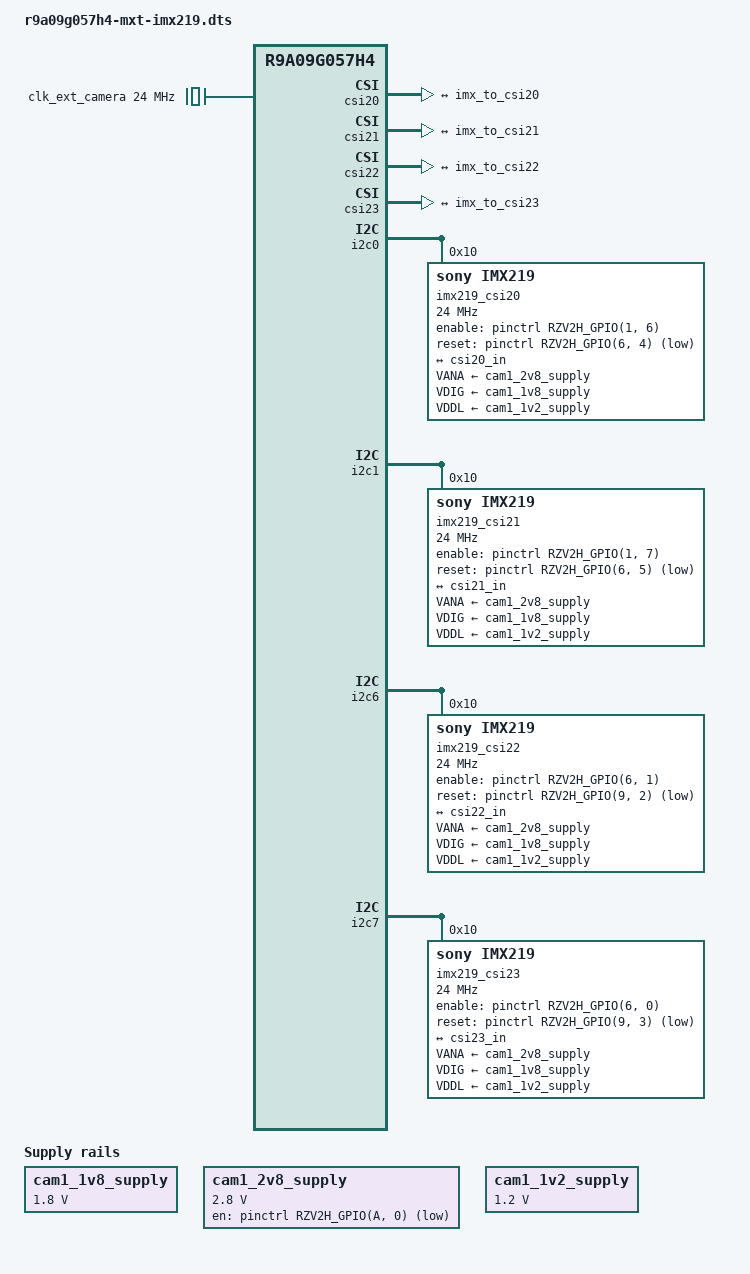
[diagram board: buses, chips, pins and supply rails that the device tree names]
// SPDX-License-Identifier: (GPL-2.0-only OR BSD-2-Clause)
/*
 * Device Tree Source for the RZ/V2H EVK MXT board variant (IMX219 camera)
 *
 * Copyright (C) 2025 Renesas Electronics Corporation
 * Copyright (C) 2024 MXT Creation SRL
 */

/dts-v1/;
#include "rzv2h-evk-ver1.dts"

/{
	cam1_1v8_supply: 1p8v {
		compatible = "regulator-fixed";
		regulator-name = "cam1_1v8_supply";
		regulator-min-microvolt = <1800000>;
		regulator-max-microvolt = <1800000>;
		regulator-always-on;
	};

	cam1_2v8_supply: 2p8v {
		compatible = "regulator-fixed";
		regulator-name = "cam1_2v8_supply";
		regulator-min-microvolt = <2800000>;
		regulator-max-microvolt = <2800000>;
		gpios = <&pinctrl RZV2H_GPIO(A, 0) GPIO_ACTIVE_HIGH>;
		startup-delay-us = <300000>;
	};

	cam1_1v2_supply: 1p2v {
		compatible = "regulator-fixed";
		regulator-name = "cam1_1v2_supply";
		regulator-min-microvolt = <1200000>;
		regulator-max-microvolt = <1200000>;
		regulator-always-on;
	};

	clk_ext_camera: clk_ext_camera {
		compatible = "fixed-clock";
		#clock-cells = <0>;
		clock-frequency = <24000000>;
	};
};

&csi20 {
	status = "okay";

	ports {
		port {
			csi20_in: endpoint {
				clock-lanes = <0>;
				data-lanes = <1 2>;
				remote-endpoint = <&imx_to_csi20>;
			};
		};
	};
};

&csi21 {
	status = "okay";

	ports {
		port {
			csi21_in: endpoint {
				clock-lanes = <0>;
				data-lanes = <1 2>;
				remote-endpoint = <&imx_to_csi21>;
			};
		};
	};
};

&csi22 {
	status = "okay";

	ports {
		port {
			csi22_in: endpoint {
				clock-lanes = <0>;
				data-lanes = <1 2>;
				remote-endpoint = <&imx_to_csi22>;
			};
		};
	};
};

&csi23 {
	status = "okay";

	ports {
		port {
			csi23_in: endpoint {
				clock-lanes = <0>;
				data-lanes = <1 2>;
				remote-endpoint = <&imx_to_csi23>;
			};
		};
	};
};

&i2c0 {
	pinctrl-0 = <&i2c0_pins>;
	pinctrl-names = "default";

	status = "okay";

	imx219_csi20: imx219_csi20@10 {
		compatible = "sony,imx219";
		reg = <0x10>;
		
		clock-names = "xclk";
		clocks = <&clk_ext_camera>;
		clock-frequency = <24000000>;
		VANA-supply = <&cam1_2v8_supply>;
		VDIG-supply = <&cam1_1v8_supply>;
		VDDL-supply = <&cam1_1v2_supply>;

		/* Set dummy enable gpio */
		enable-gpios = <&pinctrl RZV2H_GPIO(1, 6) GPIO_ACTIVE_HIGH>;
		reset-gpios = <&pinctrl RZV2H_GPIO(6, 4) GPIO_ACTIVE_LOW>;

		port {
			imx_to_csi20: endpoint {
				clock-lanes = <0>;
				data-lanes = <1 2>;
				link-frequencies = /bits/ 64 <456000000>;
				remote-endpoint = <&csi20_in>;
			};
		};
	};
	
	/delete-node/ ov5645_csi20@3c;
};

&i2c1 {
	pinctrl-0 = <&i2c1_pins>;
	pinctrl-names = "default";

	status = "okay";

	imx219_csi21: imx219_csi21@10 {
		compatible = "sony,imx219";
		reg = <0x10>;
		clock-names = "xclk";
		
		clocks = <&clk_ext_camera>;
		clock-frequency = <24000000>;
		VANA-supply = <&cam1_2v8_supply>;
		VDIG-supply = <&cam1_1v8_supply>;
		VDDL-supply = <&cam1_1v2_supply>;
		
		/* Set dummy enable gpio */
		enable-gpios = <&pinctrl RZV2H_GPIO(1, 7) GPIO_ACTIVE_HIGH>;
		reset-gpios = <&pinctrl RZV2H_GPIO(6, 5) GPIO_ACTIVE_LOW>;

		port {
			imx_to_csi21: endpoint {
				clock-lanes = <0>;
				data-lanes = <1 2>;
				link-frequencies = /bits/ 64 <456000000>;
				remote-endpoint = <&csi21_in>;
			};
		};
		
	};
	
	/delete-node/ ov5645_csi21@3c;
};

&i2c6 {
	pinctrl-0 = <&i2c6_pins>;
	pinctrl-names = "default";

	status = "okay";

	imx219_csi22: imx219_csi22@10 {
		compatible = "sony,imx219";
		reg = <0x10>;
		clock-names = "xclk";
		
		clocks = <&clk_ext_camera>;
		clock-frequency = <24000000>;
		VANA-supply = <&cam1_2v8_supply>;
		VDIG-supply = <&cam1_1v8_supply>;
		VDDL-supply = <&cam1_1v2_supply>;
		
		enable-gpios = <&pinctrl RZV2H_GPIO(6, 1) GPIO_ACTIVE_HIGH>;
		reset-gpios = <&pinctrl RZV2H_GPIO(9, 2) GPIO_ACTIVE_LOW>;

		port {
			imx_to_csi22: endpoint {
				clock-lanes = <0>;
				data-lanes = <1 2>;
				link-frequencies = /bits/ 64 <456000000>;
				remote-endpoint = <&csi22_in>;
			};
		};
	};
	
	/delete-node/ ov5645_csi22@3c;
};

&i2c7 {
	pinctrl-0 = <&i2c7_pins>;
	pinctrl-names = "default";

	status = "okay";

	imx219_csi23: imx219_csi23@10 {
		compatible = "sony,imx219";
		reg = <0x10>;
		clock-names = "xclk";
		
		clocks = <&clk_ext_camera>;
		clock-frequency = <24000000>;
		VANA-supply = <&cam1_2v8_supply>;
		VDIG-supply = <&cam1_1v8_supply>;
		VDDL-supply = <&cam1_1v2_supply>;
		
		enable-gpios = <&pinctrl RZV2H_GPIO(6, 0) GPIO_ACTIVE_HIGH>;
		reset-gpios = <&pinctrl RZV2H_GPIO(9, 3) GPIO_ACTIVE_LOW>;

		port {
			imx_to_csi23: endpoint {
				clock-lanes = <0>;
				data-lanes = <1 2>;
				link-frequencies = /bits/ 64 <456000000>;
				remote-endpoint = <&csi23_in>;
			};
		};
	};
	
	/delete-node/ ov5645_csi23@3c;
};

